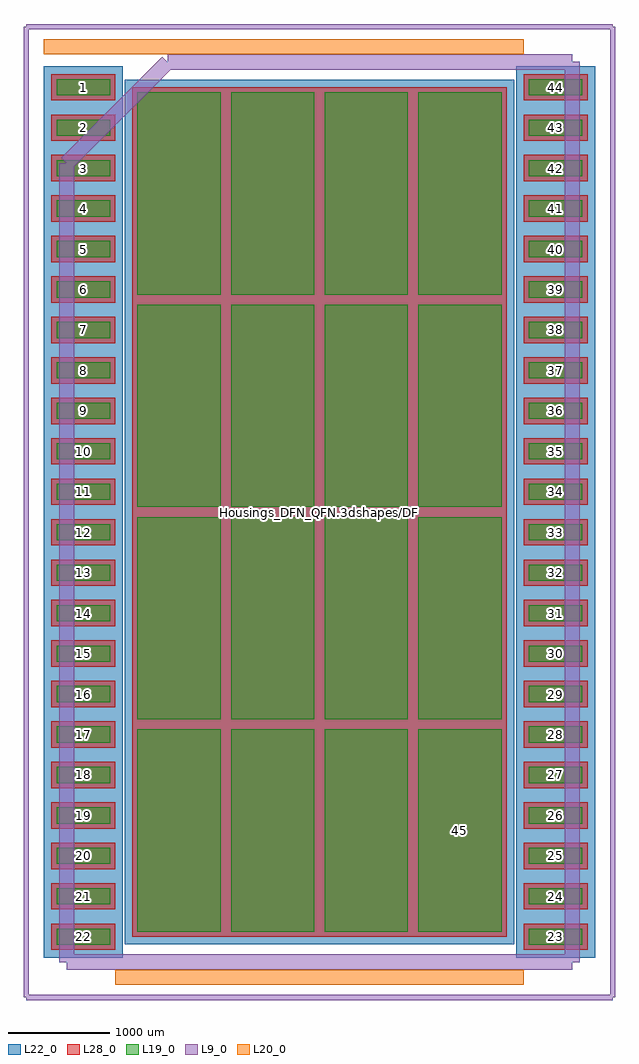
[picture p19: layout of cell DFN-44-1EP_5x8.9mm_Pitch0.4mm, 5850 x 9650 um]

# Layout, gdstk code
import gdstk
lib = gdstk.Library(unit=1e-6, precision=1e-09)
def R(c, l, rs):  # rectangles x0, y0, x1, y1
    for r in rs: c.add(gdstk.rectangle(r[:2], r[2:], *l))
def A(c, l, x, y, w, h, nx, ny, dx, dy):  # array of equal rectangles
    R(c, l, [(x+i*dx, y+j*dy, x+i*dx+w, y+j*dy+h) for i in range(nx) for j in range(ny)])
L9_0 = (9, 0)
L19_0 = (19, 0)
L20_0 = (20, 0)
L22_0 = (22, 0)
L28_0 = (28, 0)

dfn_44_1ep_5x8_9mm_pitch = lib.new_cell('DFN-44-1EP_5x8.9mm_Pitch0.4mm')
A(dfn_44_1ep_5x8_9mm_pitch, L19_0, -2600, -4280, 530, 160, 1, 22, 0, 400)
A(dfn_44_1ep_5x8_9mm_pitch, L19_0, 2070, -4280, 530, 160, 1, 22, 0, 400)
A(dfn_44_1ep_5x8_9mm_pitch, L19_0, -1800, -4150, 825, 2000, 4, 4, 925, 2100)
A(dfn_44_1ep_5x8_9mm_pitch, L22_0, -2725, -4405, 780, 410, 1, 22, 0, 400)
A(dfn_44_1ep_5x8_9mm_pitch, L22_0, 1945, -4405, 780, 410, 1, 22, 0, 400)
A(dfn_44_1ep_5x8_9mm_pitch, L22_0, -1925, -4275, 1075, 2250, 4, 4, 925, 2100)
A(dfn_44_1ep_5x8_9mm_pitch, L28_0, -2650, -4330, 630, 260, 1, 22, 0, 400)
A(dfn_44_1ep_5x8_9mm_pitch, L28_0, 2020, -4330, 630, 260, 1, 22, 0, 400)
A(dfn_44_1ep_5x8_9mm_pitch, L28_0, -1850, -4200, 925, 2100, 4, 4, 925, 2100)
dfn_44_1ep_5x8_9mm_pitch.add(gdstk.FlexPath([(-2725,4600),(2020,4600)], 149.998, ends="flush", simple_path=True, layer=20, datatype=0))  # L20_0
dfn_44_1ep_5x8_9mm_pitch.add(gdstk.FlexPath([(-2020,-4600),(2020,-4600)], 149.998, ends="flush", simple_path=True, layer=20, datatype=0))  # L20_0
dfn_44_1ep_5x8_9mm_pitch.add(gdstk.FlexPath([(-2900,-4800),(2900,-4800)], 50, ends="flush", simple_path=True, layer=9, datatype=0))  # L9_0
dfn_44_1ep_5x8_9mm_pitch.add(gdstk.FlexPath([(-2900,4800),(2900,4800)], 50, ends="flush", simple_path=True, layer=9, datatype=0))  # L9_0
dfn_44_1ep_5x8_9mm_pitch.add(gdstk.FlexPath([(2900,4800),(2900,-4800)], 50, ends="flush", simple_path=True, layer=9, datatype=0))  # L9_0
dfn_44_1ep_5x8_9mm_pitch.add(gdstk.FlexPath([(-2900,4800),(-2900,-4800)], 50, ends="flush", simple_path=True, layer=9, datatype=0))  # L9_0
dfn_44_1ep_5x8_9mm_pitch.add(gdstk.FlexPath([(-2500,3450),(-1500,4450)], 149.998, ends="flush", simple_path=True, layer=9, datatype=0))  # L9_0
dfn_44_1ep_5x8_9mm_pitch.add(gdstk.FlexPath([(-2500,-4450),(-2500,3450)], 149.998, ends="flush", simple_path=True, layer=9, datatype=0))  # L9_0
dfn_44_1ep_5x8_9mm_pitch.add(gdstk.FlexPath([(2500,-4450),(-2500,-4450)], 149.998, ends="flush", simple_path=True, layer=9, datatype=0))  # L9_0
dfn_44_1ep_5x8_9mm_pitch.add(gdstk.FlexPath([(2500,4450),(2500,-4450)], 149.998, ends="flush", simple_path=True, layer=9, datatype=0))  # L9_0
dfn_44_1ep_5x8_9mm_pitch.add(gdstk.FlexPath([(-1500,4450),(2500,4450)], 149.998, ends="flush", simple_path=True, layer=9, datatype=0))  # L9_0
dfn_44_1ep_5x8_9mm_pitch.add(gdstk.Label('Housings_DFN_QFN.3dshapes/DFN-44-1EP_5x8.9mm_Pitch0.4mm.wrl', (0,0), layer=12, texttype=0))
dfn_44_1ep_5x8_9mm_pitch.add(gdstk.Label('45', (1387.5,-3150), layer=28, texttype=0))
dfn_44_1ep_5x8_9mm_pitch.add(gdstk.Label('44', (2335,4200), layer=28, texttype=0))
dfn_44_1ep_5x8_9mm_pitch.add(gdstk.Label('43', (2335,3800), layer=28, texttype=0))
dfn_44_1ep_5x8_9mm_pitch.add(gdstk.Label('42', (2335,3400), layer=28, texttype=0))
dfn_44_1ep_5x8_9mm_pitch.add(gdstk.Label('41', (2335,3000), layer=28, texttype=0))
dfn_44_1ep_5x8_9mm_pitch.add(gdstk.Label('40', (2335,2600), layer=28, texttype=0))
dfn_44_1ep_5x8_9mm_pitch.add(gdstk.Label('39', (2335,2200), layer=28, texttype=0))
dfn_44_1ep_5x8_9mm_pitch.add(gdstk.Label('38', (2335,1800), layer=28, texttype=0))
dfn_44_1ep_5x8_9mm_pitch.add(gdstk.Label('37', (2335,1400), layer=28, texttype=0))
dfn_44_1ep_5x8_9mm_pitch.add(gdstk.Label('36', (2335,1000), layer=28, texttype=0))
dfn_44_1ep_5x8_9mm_pitch.add(gdstk.Label('35', (2335,600), layer=28, texttype=0))
dfn_44_1ep_5x8_9mm_pitch.add(gdstk.Label('34', (2335,200), layer=28, texttype=0))
dfn_44_1ep_5x8_9mm_pitch.add(gdstk.Label('33', (2335,-200), layer=28, texttype=0))
dfn_44_1ep_5x8_9mm_pitch.add(gdstk.Label('32', (2335,-600), layer=28, texttype=0))
dfn_44_1ep_5x8_9mm_pitch.add(gdstk.Label('31', (2335,-1000), layer=28, texttype=0))
dfn_44_1ep_5x8_9mm_pitch.add(gdstk.Label('30', (2335,-1400), layer=28, texttype=0))
dfn_44_1ep_5x8_9mm_pitch.add(gdstk.Label('29', (2335,-1800), layer=28, texttype=0))
dfn_44_1ep_5x8_9mm_pitch.add(gdstk.Label('28', (2335,-2200), layer=28, texttype=0))
dfn_44_1ep_5x8_9mm_pitch.add(gdstk.Label('27', (2335,-2600), layer=28, texttype=0))
dfn_44_1ep_5x8_9mm_pitch.add(gdstk.Label('26', (2335,-3000), layer=28, texttype=0))
dfn_44_1ep_5x8_9mm_pitch.add(gdstk.Label('25', (2335,-3400), layer=28, texttype=0))
dfn_44_1ep_5x8_9mm_pitch.add(gdstk.Label('24', (2335,-3800), layer=28, texttype=0))
dfn_44_1ep_5x8_9mm_pitch.add(gdstk.Label('23', (2335,-4200), layer=28, texttype=0))
dfn_44_1ep_5x8_9mm_pitch.add(gdstk.Label('22', (-2335,-4200), layer=28, texttype=0))
dfn_44_1ep_5x8_9mm_pitch.add(gdstk.Label('21', (-2335,-3800), layer=28, texttype=0))
dfn_44_1ep_5x8_9mm_pitch.add(gdstk.Label('20', (-2335,-3400), layer=28, texttype=0))
dfn_44_1ep_5x8_9mm_pitch.add(gdstk.Label('19', (-2335,-3000), layer=28, texttype=0))
dfn_44_1ep_5x8_9mm_pitch.add(gdstk.Label('18', (-2335,-2600), layer=28, texttype=0))
dfn_44_1ep_5x8_9mm_pitch.add(gdstk.Label('17', (-2335,-2200), layer=28, texttype=0))
dfn_44_1ep_5x8_9mm_pitch.add(gdstk.Label('16', (-2335,-1800), layer=28, texttype=0))
dfn_44_1ep_5x8_9mm_pitch.add(gdstk.Label('15', (-2335,-1400), layer=28, texttype=0))
dfn_44_1ep_5x8_9mm_pitch.add(gdstk.Label('14', (-2335,-1000), layer=28, texttype=0))
dfn_44_1ep_5x8_9mm_pitch.add(gdstk.Label('13', (-2335,-600), layer=28, texttype=0))
dfn_44_1ep_5x8_9mm_pitch.add(gdstk.Label('12', (-2335,-200), layer=28, texttype=0))
dfn_44_1ep_5x8_9mm_pitch.add(gdstk.Label('11', (-2335,200), layer=28, texttype=0))
dfn_44_1ep_5x8_9mm_pitch.add(gdstk.Label('10', (-2335,600), layer=28, texttype=0))
dfn_44_1ep_5x8_9mm_pitch.add(gdstk.Label('9', (-2335,1000), layer=28, texttype=0))
dfn_44_1ep_5x8_9mm_pitch.add(gdstk.Label('8', (-2335,1400), layer=28, texttype=0))
dfn_44_1ep_5x8_9mm_pitch.add(gdstk.Label('7', (-2335,1800), layer=28, texttype=0))
dfn_44_1ep_5x8_9mm_pitch.add(gdstk.Label('6', (-2335,2200), layer=28, texttype=0))
dfn_44_1ep_5x8_9mm_pitch.add(gdstk.Label('5', (-2335,2600), layer=28, texttype=0))
dfn_44_1ep_5x8_9mm_pitch.add(gdstk.Label('4', (-2335,3000), layer=28, texttype=0))
dfn_44_1ep_5x8_9mm_pitch.add(gdstk.Label('3', (-2335,3400), layer=28, texttype=0))
dfn_44_1ep_5x8_9mm_pitch.add(gdstk.Label('2', (-2335,3800), layer=28, texttype=0))
dfn_44_1ep_5x8_9mm_pitch.add(gdstk.Label('1', (-2335,4200), layer=28, texttype=0))
dfn_44_1ep_5x8_9mm_pitch.add(gdstk.Label('type', (0,-5525), layer=9, texttype=0))
dfn_44_1ep_5x8_9mm_pitch.add(gdstk.Label('devicename', (0,5525), layer=9, texttype=0))

lib.write_gds('DFN-44-1EP_5x8.9mm_Pitch0.4mm.gds')
